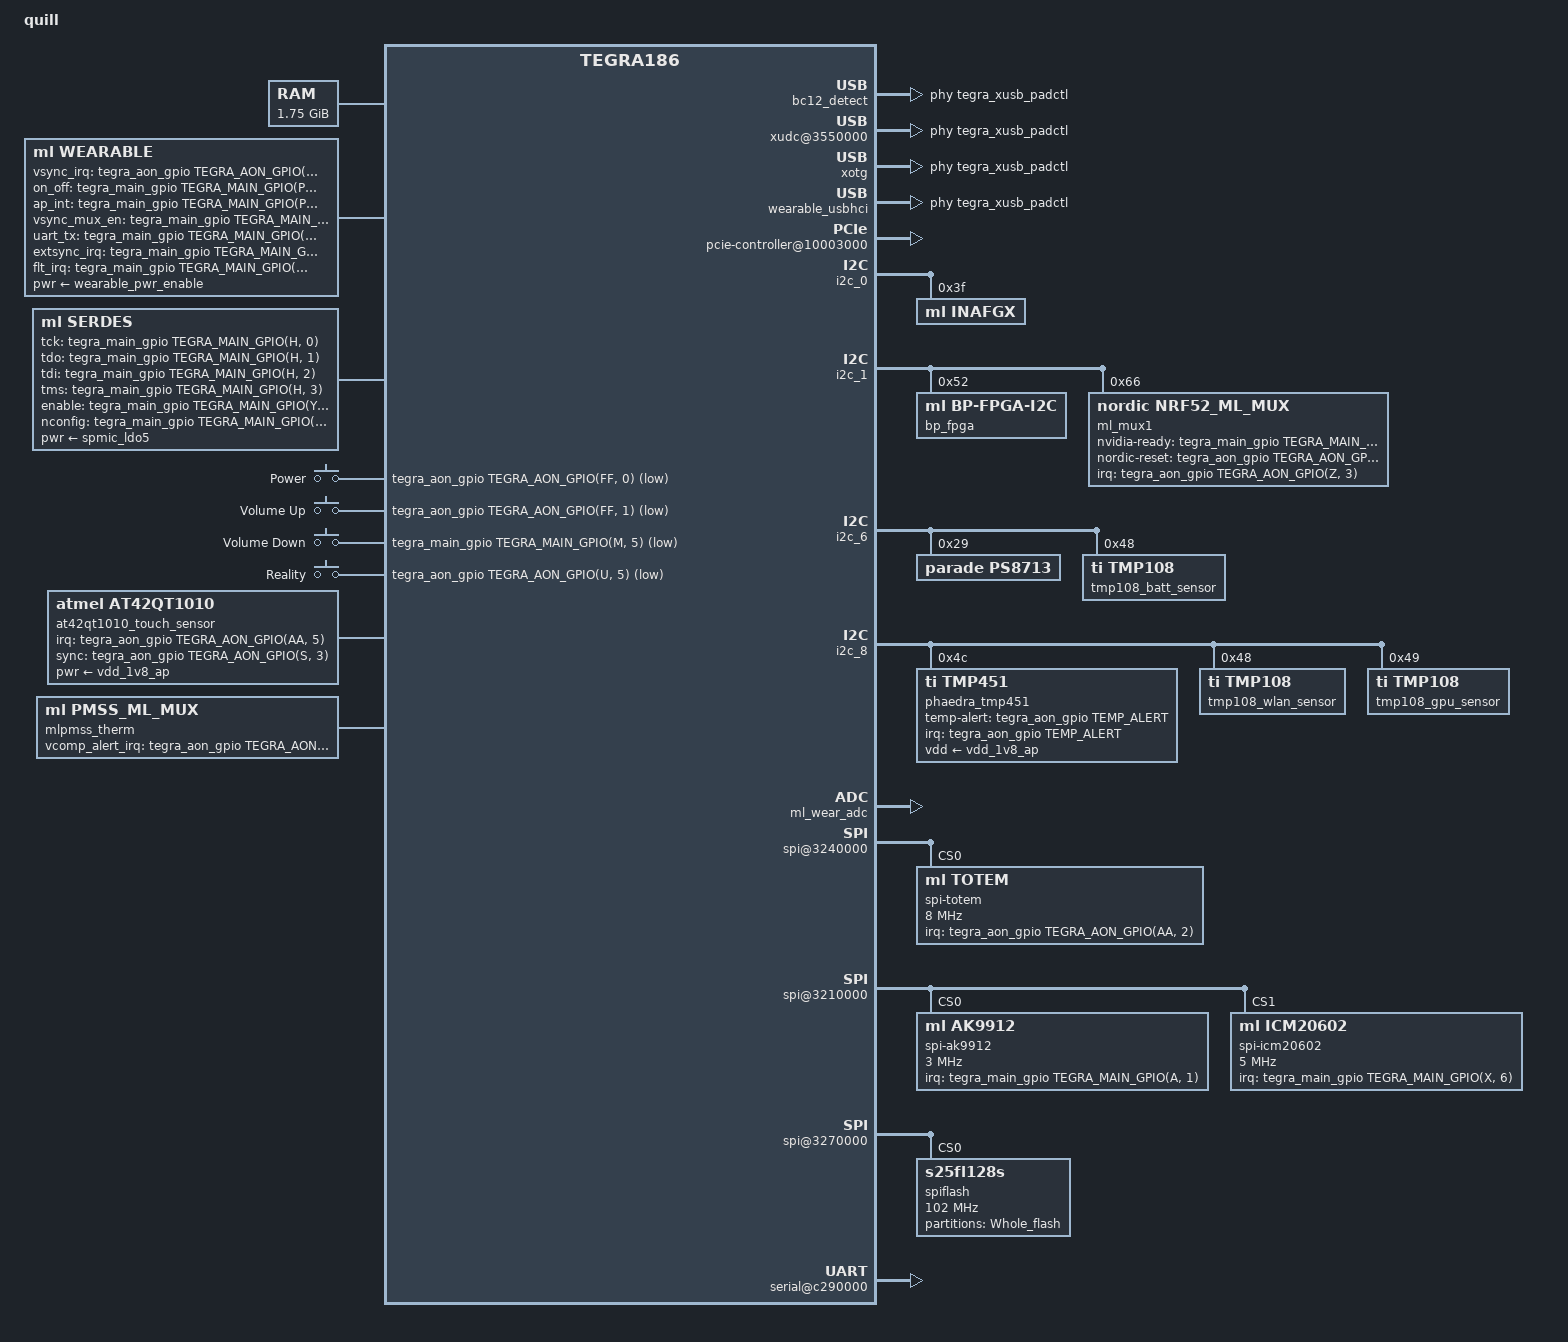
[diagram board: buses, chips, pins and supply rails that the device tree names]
/*
 * tegra186-phaedra.dtsi
 *
 * Main device tree for the phaedra product.
 *
 * Copyright (c) 2016-2017, Magic Leap, Inc.  All rights reserved.
 *
 * This program is free software; you can redistribute it and/or modify
 * it under the terms of the GNU General Public License as published by
 * the Free Software Foundation; version 2 of the License.
 *
 * This program is distributed in the hope that it will be useful, but WITHOUT
 * ANY WARRANTY; without even the implied warranty of MERCHANTABILITY or
 * FITNESS FOR A PARTICULAR PURPOSE.  See the GNU General Public License for
 * more details.
 */


#include <t18x-common-platforms/tegra186-quill-common-p3310-1000-a00.dtsi>
#include <t18x-common-platforms/tegra186-quill-power-tree-p3310-1000-a00-00.dtsi>
#include <t18x-common-modules/tegra186-display-e3320-1000-a00.dtsi>

/* comms dtsi file should be included after gpio dtsi file */
#include "tegra186-platforms/tegra186-phaedra-comms.dtsi"
#include <t18x-common-plugin-manager/tegra186-quill-p3310-1000-a00-plugin-manager.dtsi>
#include <t18x-common-prod/tegra186-priv-quill-p3310-1000-a00-prod.dtsi>

#include "tegra186-platforms/tegra186-phaedra-audio.dtsi"
#include "tegra186-platforms/tegra186-phaedra-uvrc.dtsi"
#include "tegra186-platforms/tegra186-phaedra-leds.dtsi"
#include <dt-bindings/linux/driver-info.h>
#include <dt-bindings/input/input.h>

/ {
	model = "quill";
	compatible = "nvidia,quill", "nvidia,tegra186";

	nvidia,dtsfilename = __FILE__;
	nvidia,dtbbuildtime = __DATE__, __TIME__;
	nvidia,boardids = "3310:0000:A0";
	nvidia,proc-boardid = "3310:0000:A0";

	/* empty nodes to save some boottime */
	chosen {
		bootargs ="console=ttyS0,115200 loglevel=0 log_buf_len=2M isolcpus=1,2";
		stdout-path = &uarta;
		plugin-manager {
			odm-data {
			};
			ids {
				connection {
				};
				configs {
				};
			};
			tnspec {
			};
			chip-id {
			};
			configs {
			};
		};

		reset {
			pmc-reset-reason {
			};
			pmic-reset-reason {
			};
		};
	};

	aliases {
		i2c9 = &wear_i2c0;
		i2c10 = &wear_i2c1;
		i2c11 = &wear_i2c2;
	};

	firmware {
		android {
			compatible = "android,firmware";
			hardware = "quill-ufs";
		};
	};

	bc12_detect: usb_cd {
		status = "okay";
		phys = <&tegra_xusb_padctl TEGRA_PADCTL_PHY_UTMI_P(0)>;
		phy-names = "otg-phy";
	};


	memory@80000000 {
		device_type = "memory";
		reg = <0x0 0x80000000 0x0 0x70000000>;
		ddr_info {
		};
		qspi_info {
		};
		ufs_info {
		};
	};

	xudc@3550000 {
		status = "okay";
		phys = <&tegra_xusb_padctl TEGRA_PADCTL_PHY_UTMI_P(0)>,
			<&tegra_xusb_padctl TEGRA_PADCTL_PHY_USB3_P(1)>;
		phy-names = "usb2", "usb3";
	};

	xotg {
		status = "okay";
		phys = <&tegra_xusb_padctl TEGRA_PADCTL_PHY_UTMI_P(0)>,
			<&tegra_xusb_padctl TEGRA_PADCTL_PHY_USB3_P(1)>;
		phy-names = "otg-usb2", "otg-usb3";
	};

wearable_usbhci: xhci@3530000 {
		status = "okay";
		phys = <&tegra_xusb_padctl TEGRA_PADCTL_PHY_UTMI_P(0)>,
			<&tegra_xusb_padctl TEGRA_PADCTL_PHY_UTMI_P(1)>,
			<&tegra_xusb_padctl TEGRA_PADCTL_PHY_UTMI_P(2)>,
			<&tegra_xusb_padctl TEGRA_PADCTL_PHY_USB3_P(0)>,
			<&tegra_xusb_padctl TEGRA_PADCTL_PHY_USB3_P(1)>;
		phy-names = "utmi-0", "utmi-1", "utmi-2", "usb3-0", "usb3-1";
	};

	pinctrl@3520000 {
		status = "okay";

		vbus-0-supply = <&vdd_usb0_5v>;
		vbus-1-supply = <&fan_boost_5v>;
		vbus-2-supply = <&fan_boost_5v>;

		pinctrl-0 = <&tegra_xusb_padctl_pinmux_default>;
		pinctrl-names = "default";
		tegra_xusb_padctl_pinmux_default: pinmux {
			usb2-wearable {
				nvidia,lanes = "otg-1";
				nvidia,function = "xusb";
				nvidia,port-cap = <TEGRA_PADCTL_PORT_HOST_ONLY>;
			};
			usb3-wearable {
				nvidia,lanes = "usb3-0";
				nvidia,port-cap = <TEGRA_PADCTL_PORT_HOST_ONLY>;
			};
			usb2-type-C {
				nvidia,lanes = "otg-0";
				nvidia,function = "xusb";
				nvidia,port-cap = <TEGRA_PADCTL_PORT_OTG_CAP>;
			};
			usb3-otg-type-C {
				nvidia,lanes = "usb3-1";
				nvidia,port-cap = <TEGRA_PADCTL_PORT_OTG_CAP>;
			};
			usb3-host-type-C {
				status = "disabled";
				nvidia,lanes = "usb3-2";
				nvidia,port-cap = <TEGRA_PADCTL_PORT_HOST_ONLY>;
			};
			usb2-debug {
				status = "disabled";
				nvidia,lanes = "otg-2";
				nvidia,function = "xusb";
				nvidia,port-cap = <TEGRA_PADCTL_PORT_HOST_ONLY>;
			};
		};
	};

	pcie-controller@10003000 {
		nvidia,lane-map = <0x111>;
		status = "okay";
		pci@1,0 {
			nvidia,num-lanes = <1>;
			status = "disabled";
		};
		pci@2,0 {
			nvidia,num-lanes = <1>;
			status = "okay";
		};
		pci@3,0 {
			nvidia,num-lanes = <1>;
			status = "disabled";
		};
	};

	cpus {
		status = "disabled";
	};

	host1x {
		nvdisplay@15200000 {
			nvidia,dc-or-node = "/host1x/sor";
			nvidia,cmu-enable = <0>;
		};
		nvdisplay@15210000 {
			status = "disabled";
		};
		nvdisplay@15220000 {
			status = "disabled";
		};

		sor {
			status = "okay";
			hdmi-display {
				status = "disabled";
			};

			dp-display {
				status = "okay";
				nvidia,lanes = <2>;
				nvidia,is_ext_dp_panel = <1>;
				ml,assr_enabled = <0>;
				/* 0: 961p120Hz */
				ml,preferred_mode = <2>;
				/delete-node/ display-timings;

				display-timings {
					/* Mode 0: 2560x961 (0x2e8)  310.05MHz +HSync +VSync *current */
					wearable0: 2560x961p120Hz_0 {
						clock-frequency = <310050000>;
						hactive = <2560>;
						vactive = <961>;
						hfront-porch = <24>;
						hback-porch = <80>;
						hsync-len = <8>;
						vfront-porch = <2>;
						vback-porch = <2>;
						vsync-len = <2>;
						nvidia,h-ref-to-sync = <1>;
						nvidia,v-ref-to-sync = <1>;
					};
					/* Mode 1: 2560x961 (0x2e8)  310.05MHz +HSync +VSync *current */
					wearable1: 2560x961p120Hz_1 {
						clock-frequency = <310050000>;
						hactive = <2560>;
						vactive = <961>;
						hfront-porch = <24>;
						hback-porch = <80>;
						hsync-len = <8>;
						vfront-porch = <2>;
						vback-porch = <2>;
						vsync-len = <2>;
						nvidia,h-ref-to-sync = <1>;
						nvidia,v-ref-to-sync = <1>;
					};
					/* Mode 2: 2560x961 (0x2e8)  310.05MHz +HSync +VSync *current */
					wearable2: 2560x961p120Hz {
						clock-frequency = <310050000>;
						hactive = <2560>;
						vactive = <961>;
						hfront-porch = <24>;
						hback-porch = <80>;
						hsync-len = <8>;
						vfront-porch = <2>;
						vback-porch = <2>;
						vsync-len = <2>;
						nvidia,h-ref-to-sync = <1>;
						nvidia,v-ref-to-sync = <1>;
					};
				};
			};
		};

		sor1 {
			status = "okay";
			hdmi-display {
				status = "disabled";
			};

			dp-display {
				status = "okay";
			};
		};

		dsi {
			status = "disabled";
			/delete-node/ panel-s-wuxga-8-0;
			/delete-node/ panel-s-wqxga-10-1;
		};

		dpaux@155c0000 {
			status = "okay";
		};
	};

	/* Sensible i2c bus naming */
	i2c_0: gen1_i2c: i2c@3160000 {};
	i2c_1: gen2_i2c: i2c@c240000 {};
	i2c_2: cam_i2c: i2c@3180000 {};
	i2c_3: dp_aux_ch1_i2c: i2c@3190000 {};
	i2c_4: pwr_i2c: bpmp_i2c {};
	i2c_5: dp_aux_ch0_i2c: i2c@31b0000 {};
	i2c_6: gen7_i2c: i2c@31c0000 {};
	i2c_7: gen8_i2c: i2c@c250000 {};
	i2c_8: gen9_i2c: i2c@31e0000 {};

	i2c_9: wear_i2c0: mlmux_i2c0 {};
	i2c_10: wear_i2c1: mlmux_i2c1 {};
	i2c_11: wear_i2c2: mlmux_i2c2 {};

	wearable {
		compatible = "ml,wearable";
		status = "okay";
		pinctrl-names = "uart_rx", "ext_sync";
		pinctrl-0 = <&wearable_uart_rx>;
		pinctrl-1 = <&wearable_ext_sync>;
		pwr-supply = <&wearable_pwr_enable>;
		max_curr = <750>;
		gpio_vsync_irq = <&tegra_aon_gpio TEGRA_AON_GPIO(FF, 3) GPIO_ACTIVE_HIGH>;
		gpio_on_off = <&tegra_main_gpio TEGRA_MAIN_GPIO(P, 6) GPIO_ACTIVE_LOW>;
		gpio_ap_int = <&tegra_main_gpio TEGRA_MAIN_GPIO(P, 3) GPIO_ACTIVE_HIGH>;
		gpio_vsync_mux_en = <&tegra_main_gpio TEGRA_MAIN_GPIO(A, 6) GPIO_ACTIVE_LOW>;
		gpio_uart_tx = <&tegra_main_gpio TEGRA_MAIN_GPIO(T, 0) GPIO_ACTIVE_HIGH>;
		gpio_extsync_irq = <&tegra_main_gpio TEGRA_MAIN_GPIO(T, 1) GPIO_ACTIVE_HIGH>;
		gpio_flt_irq = <&tegra_main_gpio TEGRA_MAIN_GPIO(B, 1) GPIO_ACTIVE_HIGH>;
		gpio-on-off-active-low;
	};

	serdes {
		compatible = "ml,serdes";
		status = "okay";
		pwr-supply = <&spmic_ldo5>;
		tck_gpio = <&tegra_main_gpio TEGRA_MAIN_GPIO(H, 0) GPIO_ACTIVE_HIGH>;
		tdo_gpio = <&tegra_main_gpio TEGRA_MAIN_GPIO(H, 1) GPIO_ACTIVE_HIGH>;
		tdi_gpio = <&tegra_main_gpio TEGRA_MAIN_GPIO(H, 2) GPIO_ACTIVE_HIGH>;
		tms_gpio = <&tegra_main_gpio TEGRA_MAIN_GPIO(H, 3) GPIO_ACTIVE_HIGH>;
		enable_gpio = <&tegra_main_gpio TEGRA_MAIN_GPIO(Y, 6) GPIO_ACTIVE_LOW>;
		nconfig_gpio = <&tegra_main_gpio TEGRA_MAIN_GPIO(P, 1) GPIO_ACTIVE_HIGH>;
		pinctrl-names = "serdes_jtag_active", "serdes_jtag_inactive";
		pinctrl-0 = <&serdes_jtag_active_state>;
		pinctrl-1 = <&serdes_jtag_inactive_state>;
	};

	wear_gpio: mlmux_gpio {
		#address-cells = <1>;
		#size-cells = <0>;

		#gpio-cells = <2>;
		gpio-controller;

		compatible = "ml,mlmux-gpio";
		ml,chan-name = "gpio";
		mlmux = <&ml_mux2>;

		gpio@68 {
			ml,gpio-num = <68>;
			ml,gpio-name = "6DOF_RST_L";
			ml,dir = /bits/ 8 <1>;
		};
	};


	sdhci@3460000 {
		status = "disabled";
	};

	sdhci@3400000 {
		status = "disabled";
	};

	sdhci@3440000 {
		status = "disabled";
	};

	wear_i2c0: mlmux_i2c0 {
		#address-cells = <1>;
		#size-cells = <0>;

		compatible = "ml,i2c-mlmux";
		ml,chan-name = "i2c0";
		mlmux = <&ml_mux2>;

		ml_wear_adc {
			compatible = "ml,adc-i2c";
			reg = <0x31>;
			rst_gpio = <&wear_gpio 68 GPIO_ACTIVE_HIGH>;
			status = "okay";
		};
	};

	wear_i2c1: mlmux_i2c1 {
		#address-cells = <1>;
		#size-cells = <0>;

		compatible = "ml,i2c-mlmux";
		ml,chan-name = "i2c1";
		mlmux = <&ml_mux2>;
	};

	wear_i2c2: mlmux_i2c2 {
		#address-cells = <1>;
		#size-cells = <0>;

		compatible = "ml,i2c-mlmux";
		ml,chan-name = "i2c2";
		mlmux = <&ml_mux2>;
	};

	wear_llspi: mlmux_llspi {
		#address-cells = <1>;
		#size-cells = <0>;

		compatible = "ml,llspi";
		ml,chan-name = "llspi";
		mlmux = <&ml_mux2>;
	};

	wear_benchmark: benchmark0 {
		#address-cells = <1>;
		#size-cells = <0>;

		compatible = "ml,serdes-benchmark";
		ml,chan-name = "benchmark";
		mlmux = <&ml_mux2>;
	};

	i2c@c240000 { /* i2c1 / gen2_i2c */
		status = "okay";
		bp_fpga@52 {
			compatible = "ml,bp-fpga-i2c";
			reg = <0x52>;
			status = "okay";
		};
	};

	pwm_fan_shared_data: pfsd {
		active_rpm = <0 4000 5500 7000 7500 8000 9500 9500 9500 9500>;
		state_cap_lookup = <1 2 3 4 5 6 6 6 6 6>;
		state_cap = <6>;
		invert_pwm = <1>;
		gpio-dir-ctl = <&tegra_aon_gpio TEGRA_AON_GPIO(U, 1) GPIO_ACTIVE_HIGH>;
	};

	pwm_fan: pwm-fan {
		vdd-fan-supply = <&fan_enable>;
		#cooling-cells = <2>;
		active_pwm = <0 78 118 169 189 210 255 255 255 255>;
		adjust-time = <2000>;
		rpm-range = <50>;
		pwm-adjust-value = <2>;
	};

	thermal-fan-est {
		active_trip_temps = <0 50000 60000 70000 100000
				120000 130000 140000 150000 160000>;
		active_hysteresis = <0 8000 8000 8000 8000
				8000 8000 8000 8000 8000>;
	};

	tegra_tachometer: tachometer@39c0000 {
		pulse-per-rev = <2>;
		sampling-window = <2>;
	};

	plugin-manager {
		fragment-500-pcie-config {
			status = "disabled";
		};
		fragment-comms-chip {
			status = "disabled";
		};
		fragment-500-xusb-config {
			status = "disabled";
		};
		fragment-ufs-boot@0 {
			odm-data = "enable-ufs-on-uphy-lane5";
			override@0 {
				target = <&{/firmware/android}>;
				_overlay_ {
					hardware = "quill-ufs";
				};
			};
		};
	};

	spi@c260000 {
		status = "disabled";
		/delete-node/ spi-touch-sharp19x12@0;
	};

	spi@3240000 {
		status = "okay";
		spi-totem {
			compatible = "ml,totem";
			reg = <0>; /* spi chip select 0 */
			spi-max-frequency = <8000000>;
			interrupt-parent = <&tegra_aon_gpio>;
			interrupts = <TEGRA_AON_GPIO(AA, 2) GPIO_ACTIVE_LOW>;
			status = "okay";
		};
	};

	spi@3210000 {
		status = "okay";
		spi-ak9912 {
			compatible = "ml,ak9912";
			reg = <0>; /* spi chip select 0 */
			spi-max-frequency = <3000000>;
			interrupt-parent = <&tegra_main_gpio>;
			interrupts = <TEGRA_MAIN_GPIO(A, 1) GPIO_ACTIVE_HIGH>;
			status = "okay";
		};
		spi-icm20602 {
			compatible = "ml,icm20602";
			reg = <1>; /* spi chip select 1 */
			spi-max-frequency = <5000000>;
			interrupt-parent = <&tegra_main_gpio>;
			interrupts = <TEGRA_MAIN_GPIO(X, 6) GPIO_ACTIVE_HIGH>;
			rate = <10>; /* Hz */
			acc_en = <0>;
			acc_fsr = <8>; /* +-g */
			acc_avg = <4>; /* samples */
			acc_dlpf = <3>;
			gyr_en = <0>;
			gyr_fsr = <500>; /* +-dps */
			gyr_avg = <1>; /* samples */
			gyr_dlpf = <3>;
			status = "okay";
		};
	};

	spi@3270000 {/* QSPI NOR */
		status = "okay";
		spiflash@0 {
			#address-cells = <1>;
			#size-cells = <1>;
			compatible = "s25fl128s";
			reg = <0>;
			spi-max-frequency = <102000000>;
			partition@0 {
				label = "Whole_flash";
				reg = <0x00000000 0x1000000>;
			};
			controller-data {
				nvidia,x1-len-limit = <16>;
				nvidia,x1-bus-speed = <102000000>; /* In Mhz */
				nvidia,x1-dymmy-cycle = <10>;
				nvidia,x4-bus-speed = <102000000>;
				nvidia,x4-dymmy-cycle = <10>;
				nvidia,ifddr-div2-sdr = <1>;
				nvidia,x4-is-ddr=<0>;
			};
		};
	};

	gpio-keys {
		compatible = "gpio-keys";
		gpio-keys,name = "gpio-keys";

		power {
			label = "Power";
			gpios = <&tegra_aon_gpio TEGRA_AON_GPIO(FF, 0) GPIO_ACTIVE_LOW>;
			linux,code = <KEY_POWER>;
			gpio-key,wakeup;
			debounce-interval = <30>;
		};

		volume_up {
			label = "Volume Up";
			gpios = <&tegra_aon_gpio TEGRA_AON_GPIO(FF, 1) GPIO_ACTIVE_LOW>;
			linux,code = <KEY_VOLUMEUP>;
			debounce-interval = <30>;
		};

		volume_down {
			label = "Volume Down";
			gpios = <&tegra_main_gpio TEGRA_MAIN_GPIO(M, 5) GPIO_ACTIVE_LOW>;
			linux,code = <KEY_VOLUMEDOWN>;
			debounce-interval = <30>;
		};

		reality {
			label = "Reality";
			gpios = <&tegra_aon_gpio TEGRA_AON_GPIO(U, 5) GPIO_ACTIVE_LOW>;
			linux,code = <KEY_DISPLAY_OFF>;
			debounce-interval = <30>;
		};
	};

	at42qt1010_touch_sensor {
		compatible = "atmel,at42qt1010";
		pwr-supply = <&vdd_1v8_ap>;
		gpio_irq = <&tegra_aon_gpio TEGRA_AON_GPIO(AA, 5) GPIO_ACTIVE_HIGH>;
		gpio_sync = <&tegra_aon_gpio TEGRA_AON_GPIO(S, 3) GPIO_ACTIVE_HIGH>;
		run_mode = "fast";
		enable_on_suspend = <0>;
	};

	nrf_fcmd_comm {
		compatible = "ml,nrf_fcmd";
		status = "okay";
		mlmux = <&ml_mux1>;
	};

	mlgz_ctrl {
		compatible = "ml,mlgz_ctrl";
		status = "okay";
		mlmux = <&ml_mux1>;
	};

	aon@c160000 {

		status = "okay";

		ivc-channels@80000000  {
			/delete-node/ ivc_aon_spi@600;
			/delete-node/ ivc_can0@c780;
			/delete-node/ ivc_can1@d000;

			ivc_aon_em_raw@600 {
				reg = <0x600>, <0x10600>;
				reg-names = "rx", "tx";
				nvidia,frame-count = <1>;
				nvidia,frame-size = <8256>;
			};

			ivc_aon_wearable@26c0 {
				reg = <0x26c0>, <0x126c0>;
				reg-names = "rx", "tx";
				nvidia,frame-count = <24>;
				nvidia,frame-size = <1088>;
			};

			ivc_aon_emt@3840 {
				reg = <0x8d40>, <0x18d40>;
				reg-names = "rx", "tx";
				nvidia,frame-count = <8>;
				nvidia,frame-size = <256>;
			};
		};
	};

	aon_em_raw {
		compatible = "ml,aon-em-raw";
		mboxes = <&aon 2>;
		status = "okay";
	};

	ml_mux2: aon_wearable {
		compatible = "ml,aon-wearable";
		mboxes = <&aon 3>;
		status = "okay";
	};

	aon_6dof {
		compatible = "ml,aon-6dof";
		mboxes = <&aon 4>;
		status = "okay";
	};

	mlpmss_therm: ml_pmss {
		compatible = "ml,pmss_ml_mux";
		status = "okay";
		vcomp_alert_irq = <&tegra_aon_gpio TEGRA_AON_GPIO(S, 4) GPIO_ACTIVE_LOW>;
		ml,chan-name = "pmss";
		mlmux = <&ml_mux1>;
		extcon = <&vbus_id_extcon>;
		bc12_cd = <&bc12_detect>;
		#thermal-sensor-cells = <1>;
		ml,batt_sens_id = <0>;
		ml,chrg_sens_id = <1>;
		ml,batt-warm-temp = <450>;
		ml,batt-cool-temp = <100>;
		ml,batt-hot-temp = <580>;
		ml,batt-cold-temp = <0>;
	};

	ml_therm {
		compatible = "ml,therm_mlmux";
		status = "okay";
		ml,chan-name = "therm";
		mlmux = <&ml_mux1>;
		trip-ufs-critical-temp = <80000>;
	};

	serial@c280000 {
		status = "disabled";
	};

	serial@c290000 {
		status = "okay";
	};

	ether_qos@2490000 {
		status = "disabled";
	};

	thermal-zones {
		Tboard_tegra {
			thermal-sensors = <&phaedra_tmp451 0>;
			trips {
				trip_critical {
					type = "critical";
					temperature = <75000>;
					hysteresis = <1>;
				};
			};
		};

		Tdiode_tegra {
			thermal-sensors = <&phaedra_tmp451 1>;
		};

		battery {
			polling-delay = <10000>;
			polling-delay-passive = <0>;
			thermal-sensors = <&mlpmss_therm 0>;

			thermal-zone-params {
				governor-name = "pid_thermal_gov";
			};

			trips {
				batt_tz_trip0: trip_0 {
					temperature = <45000>;
					type = "active";
					hysteresis = <5000>;
					writable;
				};
			};

			cooling-maps {
				map0 {
					trip = <&batt_tz_trip0>;
					cdev-type = "pwm-fan";
					cooling-device = <&pwm_fan 3 3>;
				};
			};
		};

		usb_pd {
			polling-delay = <10000>;
			polling-delay-passive = <0>;
			thermal-sensors = <&mlpmss_therm 1>;

			thermal-zone-params {
				governor-name = "pid_thermal_gov";
			};

			trips {
				chrg_tz_trip0: trip_0 {
					temperature = <60000>;
					type = "active";
					hysteresis = <8000>;
					writable;
				};
				chrg_tz_trip1: trip_1 {
					temperature = <70000>;
					type = "active";
					hysteresis = <8000>;
					writable;
				};
			};

			cooling-maps {
				map0 {
					trip = <&chrg_tz_trip0>;
					cdev-type = "pwm-fan";
					cooling-device = <&pwm_fan 2 2>;
				};
				map1 {
					trip = <&chrg_tz_trip1>;
					cdev-type = "pwm-fan";
					cooling-device = <&pwm_fan 3 3>;
				};
			};
		};

		tmp108_batt {
			polling-delay = <0>;
			polling-delay-passive = <0>;
			thermal-sensors = <&tmp108_batt_sensor>;
		};

		tmp108_wlan {
			polling-delay = <0>;
			polling-delay-passive = <0>;
			thermal-sensors = <&tmp108_wlan_sensor>;
		};

		tmp108_gpu {
			polling-delay = <0>;
			polling-delay-passive = <0>;
			thermal-sensors = <&tmp108_gpu_sensor>;
		};
	};

	factory_kill {
		gpio_factory_kill = <&tegra_main_gpio TEGRA_MAIN_GPIO(B, 3) GPIO_ACTIVE_HIGH>;
	};
};


&ina3221x_40 {
	crit-warn-gpio = <&tegra_main_gpio TEGRA_MAIN_GPIO(Y, 5) GPIO_ACTIVE_LOW>;
};

&ina3221x_41 {
	crit-warn-gpio = <&tegra_aon_gpio TEGRA_AON_GPIO(S, 2) GPIO_ACTIVE_LOW>;
};

&i2c_6 {
	status = "okay";
	ps8713 {
		compatible = "parade,ps8713";
		reg = <0x29>;
		chan-a {
			chan-name = "ch-a";
			eq-level = <1>;
			de-emphasis = <2>;
		};
		chan-b {
			chan-name = "ch-b";
			eq-level = <3>;
			de-emphasis = <1>;
		};
	};

	tmp108_batt_sensor: tmp108@48 {
		compatible = "ti,tmp108";
		#thermal-sensor-cells = <0>;
		reg = <0x48>;
		skip-programming;
		no-sleep;
		sensor-name = "tmp108_batt";
	};
};

&i2c_1 {
	status = "okay";
	ml_mux1: nrf52_ml_mux@66 {
		compatible = "nordic,nrf52_ml_mux";
		reg = <0x66>;
		status = "okay";
		queue-len = <20>;
		max-write-len = <128>;
		max-receive-len = <128>;
		wakeup-source;
		interrupt-parent = <&tegra_aon_gpio>;
		interrupts = <TEGRA_AON_GPIO(Z, 3) GPIO_ACTIVE_LOW>;
		interrupt-names = "irq";
		tx-highpri;
		nvidia-ready = <&tegra_main_gpio TEGRA_MAIN_GPIO(M, 0) GPIO_ACTIVE_HIGH>;
		nordic-reset = <&tegra_aon_gpio TEGRA_AON_GPIO(W, 4) GPIO_ACTIVE_HIGH>;
		app_fw_file = "nrf52832_xxaa_beltpack_app.tar";
		bl_fw_file = "nrf52832_xxaa_beltpack_bl.tar";
	};
};

&i2c_7 {
	status = "disabled";
	temp-sensor@4c {
		status = "disabled";
	};
};

&i2c_8 {
	status = "okay";
	phaedra_tmp451: temp-sensor@4c {
		status = "okay";
		#thermal-sensor-cells = <1>;
		compatible = "ti,tmp451";
		reg = <0x4c>;
		sensor-name = "tmp451-ext";
		supported-hwrev = <1>;
		offset = <(-44)>;
		conv-rate = <0x06>;
		extended-rage = <1>;

		interrupt-parent = <&tegra_aon_gpio>;
		interrupts = <TEMP_ALERT IRQ_TYPE_LEVEL_LOW>;
		temp-alert-gpio = <&tegra_aon_gpio TEMP_ALERT 0>;

		vdd-supply = <&vdd_1v8_ap>;

		loc {
		/* set to maximum for not having local  shutdown */
			shutdown-limit = <80>;
		};
		ext {
			shutdown-limit = <115>;
		};
	};

	tmp108_wlan_sensor: tmp108@48 {
		compatible = "ti,tmp108";
		#thermal-sensor-cells = <0>;
		reg = <0x48>;
		skip-programming;
		no-sleep;
		sensor-name = "tmp108_wlan";
	};

	tmp108_gpu_sensor: tmp108@49 {
		compatible = "ti,tmp108";
		#thermal-sensor-cells = <0>;
		reg = <0x49>;
		skip-programming;
		no-sleep;
		sensor-name = "tmp108_gpu";
	};
};

&i2c_0 {
	/* 0x3f as dummy i2c address */
	inafgx@3f {
		compatible = "ml,inafgx";
		status = "okay";
		reg = <0x3f>;
	};
};

&aon_spi {
	status = "disabled";
};

&pinmux {
	wearable_uart_rx: uart1_rx_pt1 {
		pinmux {
			nvidia,pins = "uart1_rx_pt1";
			nvidia,special-function = <1>;
			nvidia,function = "uarta";
			nvidia,pull = <TEGRA_PIN_PULL_UP>;
			nvidia,tristate = <TEGRA_PIN_ENABLE>;
			nvidia,enable-input = <TEGRA_PIN_ENABLE>;
			nvidia,lpdr = <TEGRA_PIN_DISABLE>;
		};
	};
	wearable_ext_sync: gpio_pt1 {
		pinmux {
			nvidia,pins = "uart1_rx_pt1";
			nvidia,special-function = <0>;
			nvidia,function = "rsvd1";
			nvidia,pull = <TEGRA_PIN_PULL_DOWN>;
			nvidia,tristate = <TEGRA_PIN_ENABLE>;
			nvidia,enable-input = <TEGRA_PIN_ENABLE>;
			nvidia,lpdr = <TEGRA_PIN_DISABLE>;
		};
	};

	serdes_jtag_inactive_state: serdes_jtag_inactive {
		spi1_sck: imu_mag_sck {
			nvidia,pins = "gpio_wan5_ph0";
			nvidia,special-function = <1>;
			nvidia,function = "spi1";
			nvidia,pull = <TEGRA_PIN_PULL_DOWN>;
			nvidia,tristate = <TEGRA_PIN_DISABLE>;
			nvidia,enable-input = <TEGRA_PIN_DISABLE>;
			nvidia,lpdr = <TEGRA_PIN_DISABLE>;
		};
		spi1_miso: imu_mag_miso {
			nvidia,pins = "gpio_wan6_ph1";
			nvidia,special-function = <1>;
			nvidia,function = "spi1";
			nvidia,pull = <TEGRA_PIN_PULL_NONE>;
			nvidia,tristate = <TEGRA_PIN_ENABLE>;
			nvidia,enable-input = <TEGRA_PIN_ENABLE>;
			nvidia,lpdr = <TEGRA_PIN_DISABLE>;
		};
		spi1_mosi: imu_mag_mosi {
			nvidia,pins = "gpio_wan7_ph2";
			nvidia,special-function = <1>;
			nvidia,function = "spi1";
			nvidia,pull = <TEGRA_PIN_PULL_UP>;
			nvidia,tristate = <TEGRA_PIN_DISABLE>;
			nvidia,enable-input = <TEGRA_PIN_DISABLE>;
			nvidia,lpdr = <TEGRA_PIN_DISABLE>;
		};
		spi1_cs0: mag_cs {
			nvidia,pins = "gpio_wan8_ph3";
			nvidia,special-function = <1>;
			nvidia,function = "spi1";
			nvidia,pull = <TEGRA_PIN_PULL_NONE>;
			nvidia,tristate = <TEGRA_PIN_DISABLE>;
			nvidia,enable-input = <TEGRA_PIN_DISABLE>;
			nvidia,lpdr = <TEGRA_PIN_DISABLE>;
		};
		spi1_cs1: imu_cs {
			nvidia,pins = "gpio_mdm4_py3";
			nvidia,special-function = <1>;
			nvidia,function = "spi1";
			nvidia,pull = <TEGRA_PIN_PULL_NONE>;
			nvidia,tristate = <TEGRA_PIN_DISABLE>;
			nvidia,enable-input = <TEGRA_PIN_DISABLE>;
			nvidia,lpdr = <TEGRA_PIN_DISABLE>;
		};
	};

	serdes_jtag_active_state: serdes_jtag_active {
		fpga_jtag_tck: serdes_jtag_tck {
			nvidia,pins = "gpio_wan5_ph0";
			nvidia,special-function = <0>;
			nvidia,function = "rsvd0";
			nvidia,pull = <TEGRA_PIN_PULL_DOWN>;
			nvidia,tristate = <TEGRA_PIN_DISABLE>;
			nvidia,enable-input = <TEGRA_PIN_DISABLE>;
			nvidia,lpdr = <TEGRA_PIN_DISABLE>;
		};
		fpga_jtag_tdo: serdes_jtag_tdo {
			nvidia,pins = "gpio_wan6_ph1";
			nvidia,special-function = <0>;
			nvidia,function = "rsvd0";
			nvidia,pull = <TEGRA_PIN_PULL_NONE>;
			nvidia,tristate = <TEGRA_PIN_ENABLE>;
			nvidia,enable-input = <TEGRA_PIN_ENABLE>;
			nvidia,lpdr = <TEGRA_PIN_DISABLE>;
		};
		fpga_jtag_tdi: serdes_jtag_tdi {
			nvidia,pins = "gpio_wan7_ph2";
			nvidia,special-function = <0>;
			nvidia,function = "rsvd0";
			nvidia,pull = <TEGRA_PIN_PULL_UP>;
			nvidia,tristate = <TEGRA_PIN_DISABLE>;
			nvidia,enable-input = <TEGRA_PIN_DISABLE>;
			nvidia,lpdr = <TEGRA_PIN_DISABLE>;
		};
		fpga_jtag_tms: serdes_jtag_tms {
			nvidia,pins = "gpio_wan8_ph3";
			nvidia,special-function = <0>;
			nvidia,function = "rsvd0";
			nvidia,pull = <TEGRA_PIN_PULL_UP>;
			nvidia,tristate = <TEGRA_PIN_DISABLE>;
			nvidia,enable-input = <TEGRA_PIN_DISABLE>;
			nvidia,lpdr = <TEGRA_PIN_DISABLE>;
		};
		fpga_jtag_cs1: serdes_jtag_gpio {
			nvidia,pins = "gpio_mdm4_py3";
			nvidia,special-function = <0>;
			nvidia,function = "rsvd0";
			nvidia,pull = <TEGRA_PIN_PULL_UP>;
			nvidia,tristate = <TEGRA_PIN_DISABLE>;
			nvidia,enable-input = <TEGRA_PIN_DISABLE>;
			nvidia,lpdr = <TEGRA_PIN_DISABLE>;
		};
	};
};

&vbus_id_extcon {
	/delete-property/ wakeup-source;
	enable-gpios = <0>;
	gpios = <&tegra_main_gpio TEGRA_MAIN_GPIO(X, 7) 0>;
	extcon-gpio,cable-states = <0x0 0x1
				    0x1 0x0>;
};

&wearable_usbhci {
	nvidia,pmc-usb-wakes-disabled;
};
